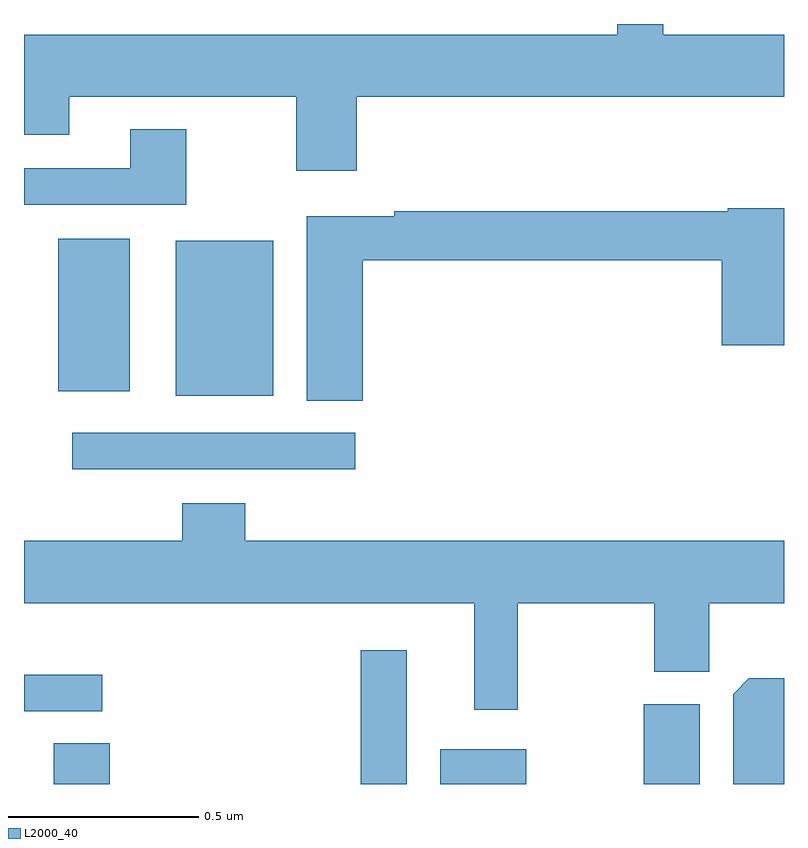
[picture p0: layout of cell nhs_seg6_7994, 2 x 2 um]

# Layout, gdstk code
import gdstk
lib = gdstk.Library(unit=1e-6, precision=1e-09)
def R(c, l, rs):  # rectangles x0, y0, x1, y1
    for r in rs: c.add(gdstk.rectangle(r[:2], r[2:], *l))
def P(c, l, *ps):  # polygons
    for p in ps: c.add(gdstk.Polygon(p, *l))
L2000_40 = (2000, 40)

nhs_seg6_7994 = lib.new_cell('nhs_seg6_7994')
R(nhs_seg6_7994, L2000_40, [(215.078,973.5,215.225,973.607), (215.886,973.5,216.007,973.852), (216.095,973.5,216.322,973.591), (216.631,973.5,216.778,973.71), (215,973.692,215.206,973.788), (215.127,974.328,215.872,974.424), (215.399,974.522,215.656,974.929), (215.09,974.534,215.278,974.935)])
P(nhs_seg6_7994, L2000_40, [(215.876,975.308),(217,975.308),(217,975.472),(216.682,975.472),(216.682,975.5),(216.561,975.5),(216.561,975.472),(215,975.472),(215,975.209),(215.119,975.209),(215.119,975.308),(215.716,975.308),(215.716,975.114),(215.876,975.114)],
  [(215.427,975.223),(215.279,975.223),(215.279,975.12),(215,975.12),(215,975.024),(215.427,975.024)],
  [(215.891,974.878),(216.836,974.878),(216.836,974.655),(217,974.655),(217,975.015),(216.852,975.015),(216.852,975.007),(215.974,975.007),(215.974,974.994),(215.744,974.994),(215.744,974.509),(215.891,974.509)],
  [(216.299,973.976),(216.658,973.976),(216.658,973.795),(216.803,973.795),(216.803,973.976),(217,973.976),(217,974.14),(215.582,974.14),(215.582,974.239),(215.417,974.239),(215.417,974.14),(215,974.14),(215,973.976),(216.185,973.976),(216.185,973.695),(216.299,973.695)],
  [(217,973.778),(216.907,973.778),(216.866,973.736),(216.866,973.5),(217,973.5)])

lib.write_gds('nhs_seg6_7994.gds')
